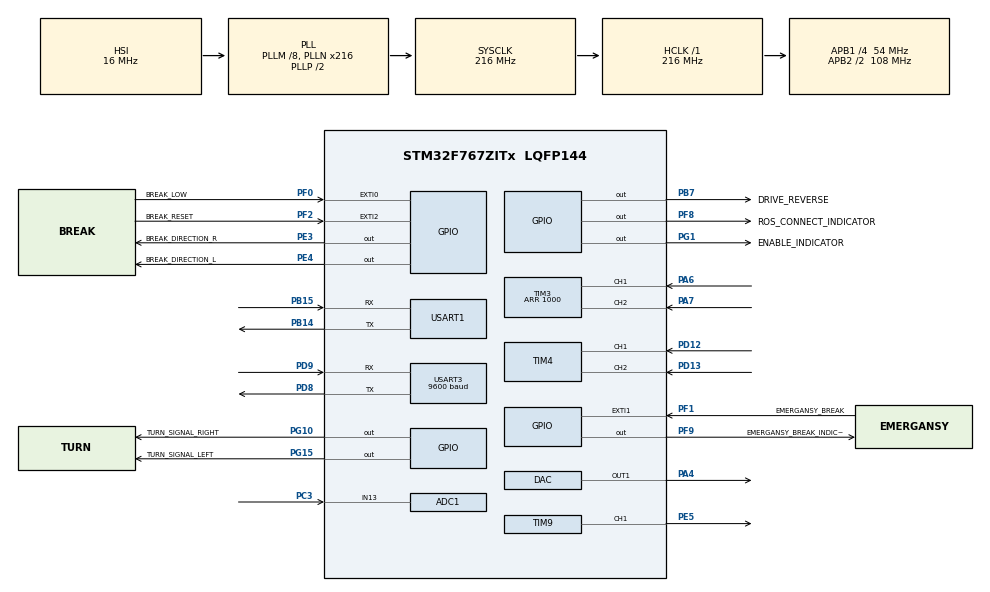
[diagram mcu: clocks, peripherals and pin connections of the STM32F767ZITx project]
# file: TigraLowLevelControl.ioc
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ADC1.Channel-2\#ChannelRegularConversion=ADC_CHANNEL_13
ADC1.ContinuousConvMode=DISABLE
ADC1.InjNumberOfConversion=0
ADC1.NbrOfConversion=1
ADC1.NbrOfConversionFlag=1
ADC1.Rank-2\#ChannelRegularConversion=1
ADC1.SamplingTime-2\#ChannelRegularConversion=ADC_SAMPLETIME_56CYCLES
ADC1.master=1
DAC.DAC_OutputBuffer=DAC_OUTPUTBUFFER_DISABLE
FREERTOS.INCLUDE_eTaskGetState=1
FREERTOS.INCLUDE_pcTaskGetTaskName=1
FREERTOS.INCLUDE_uxTaskGetStackHighWaterMark=1
FREERTOS.INCLUDE_uxTaskGetStackHighWaterMark2=1
FREERTOS.INCLUDE_vTaskCleanUpResources=1
FREERTOS.INCLUDE_vTaskDelayUntil=1
FREERTOS.INCLUDE_xQueueGetMutexHolder=1
FREERTOS.INCLUDE_xSemaphoreGetMutexHolder=1
FREERTOS.INCLUDE_xTaskAbortDelay=1
FREERTOS.INCLUDE_xTaskGetCurrentTaskHandle=1
FREERTOS.INCLUDE_xTaskGetHandle=1
FREERTOS.Queues01=driveData,10,driveData_t,0,Dynamic,NULL,NULL
FREERTOS.Tasks01=DefaultTask,1,1024,DefaultTaskTask,Default,NULL,Dynamic,NULL,NULL;driveControl,2,512,driveControlTask,Default,NULL,Dynamic,NULL,NULL;lightControl,2,512,lightControlTask,Default,NULL,Dynamic,NULL,NULL;hardwareTest,1,512,hardwareTestTask,Default,NULL,Dynamic,NULL,NULL;buttonProcess,1,256,buttonProcessTask,Default,NULL,Dynamic,NULL,NULL
FREERTOS.configENABLE_FPU=1
FREERTOS.configMINIMAL_STACK_SIZE=256
FREERTOS.configTOTAL_HEAP_SIZE=30000
Mcu.Family=STM32F7
Mcu.Name=STM32F767ZITx
Mcu.Package=LQFP144
NVIC.EXTI0_IRQn=true\:5\:0\:false\:false\:true\:true\:true\:true
NVIC.EXTI1_IRQn=true\:5\:0\:false\:false\:true\:true\:true\:true
NVIC.EXTI2_IRQn=true\:5\:0\:false\:false\:true\:true\:true\:true
NVIC.PriorityGroup=NVIC_PRIORITYGROUP_4
NVIC.TIM4_IRQn=true\:5\:0\:false\:false\:true\:true\:true\:true
NVIC.TIM8_TRG_COM_TIM14_IRQn=true\:0\:0\:false\:false\:true\:false\:false\:true
NVIC.TimeBase=TIM8_TRG_COM_TIM14_IRQn
NVIC.TimeBaseIP=TIM14
NVIC.USART1_IRQn=true\:5\:0\:false\:false\:true\:true\:true\:true
PA13.Mode=Serial_Wire
PA13.Signal=SYS_JTMS-SWDIO
PA14.Mode=Serial_Wire
PA14.Signal=SYS_JTCK-SWCLK
PA4.Signal=COMP_DAC1_group
PA6.GPIO_PuPd=GPIO_PULLUP
PA6.GPIO_Speed=GPIO_SPEED_FREQ_HIGH
PA6.Signal=S_TIM3_CH1
PA7.GPIO_PuPd=GPIO_PULLUP
PA7.GPIO_Speed=GPIO_SPEED_FREQ_HIGH
PA7.Signal=S_TIM3_CH2
PB14.Mode=Asynchronous
PB14.Signal=USART1_TX
PB15.Mode=Asynchronous
PB15.Signal=USART1_RX
PB7.GPIO_Label=DRIVE_REVERSE
PB7.GPIO_ModeDefaultOutputPP=GPIO_MODE_OUTPUT_OD
PB7.PinState=GPIO_PIN_SET
PB7.Signal=GPIO_Output
PC3.Signal=ADCx_IN13
PD12.GPIO_PuPd=GPIO_PULLUP
PD12.GPIO_Speed=GPIO_SPEED_FREQ_HIGH
PD12.Signal=S_TIM4_CH1
PD13.GPIO_PuPd=GPIO_PULLUP
PD13.GPIO_Speed=GPIO_SPEED_FREQ_HIGH
PD13.Signal=S_TIM4_CH2
PD8.Mode=Asynchronous
PD8.Signal=USART3_TX
PD9.Mode=Asynchronous
PD9.Signal=USART3_RX
PE3.GPIO_Label=BREAK_DIRECTION_R
PE3.GPIO_Speed=GPIO_SPEED_FREQ_MEDIUM
PE3.Signal=GPIO_Output
PE4.GPIO_Label=BREAK_DIRECTION_L
PE4.GPIO_Speed=GPIO_SPEED_FREQ_MEDIUM
PE4.Signal=GPIO_Output
PE5.Signal=S_TIM9_CH1
PF0.GPIO_Label=BREAK_LOW
PF0.GPIO_ModeDefaultEXTI=GPIO_MODE_IT_FALLING
PF0.GPIO_PuPd=GPIO_PULLUP
PF0.Signal=GPXTI0
PF1.GPIO_Label=EMERGANSY_BREAK
PF1.GPIO_ModeDefaultEXTI=GPIO_MODE_IT_RISING
PF1.GPIO_PuPd=GPIO_PULLUP
PF1.Signal=GPXTI1
PF2.GPIO_Label=BREAK_RESET
PF2.GPIO_ModeDefaultEXTI=GPIO_MODE_IT_RISING_FALLING
PF2.GPIO_PuPd=GPIO_PULLUP
PF2.Signal=GPXTI2
PF8.GPIO_Label=ROS_CONNECT_INDICATOR
PF8.GPIO_ModeDefaultOutputPP=GPIO_MODE_OUTPUT_OD
PF8.GPIO_PuPd=GPIO_NOPULL
PF8.PinState=GPIO_PIN_SET
PF8.Signal=GPIO_Output
PF9.GPIO_Label=EMERGANSY_BREAK_INDICATOR
PF9.GPIO_ModeDefaultOutputPP=GPIO_MODE_OUTPUT_OD
PF9.PinState=GPIO_PIN_SET
PF9.Signal=GPIO_Output
PG1.GPIO_Label=ENABLE_INDICATOR
PG1.GPIO_ModeDefaultOutputPP=GPIO_MODE_OUTPUT_OD
PG1.GPIO_PuPd=GPIO_NOPULL
PG1.PinState=GPIO_PIN_SET
PG1.Signal=GPIO_Output
PG10.GPIO_Label=TURN_SIGNAL_RIGHT
PG10.GPIO_ModeDefaultOutputPP=GPIO_MODE_OUTPUT_OD
PG10.PinState=GPIO_PIN_SET
PG10.Signal=GPIO_Output
PG15.GPIO_Label=TURN_SIGNAL_LEFT
PG15.GPIO_ModeDefaultOutputPP=GPIO_MODE_OUTPUT_OD
PG15.PinState=GPIO_PIN_SET
PG15.Signal=GPIO_Output
PH0/OSC_IN.Mode=HSE-External-Clock-Source
PH0/OSC_IN.Signal=RCC_OSC_IN
PH1/OSC_OUT.Mode=HSE-External-Clock-Source
PH1/OSC_OUT.Signal=RCC_OSC_OUT
ProjectManager.HeapSize=0x800
ProjectManager.StackSize=0x1000
ProjectManager.TargetToolchain=Makefile
RCC.AHBFreq_Value=216000000
RCC.APB1CLKDivider=RCC_HCLK_DIV4
RCC.APB1Freq_Value=54000000
RCC.APB1TimFreq_Value=108000000
RCC.APB2CLKDivider=RCC_HCLK_DIV2
RCC.APB2Freq_Value=108000000
RCC.APB2TimFreq_Value=216000000
RCC.CortexFreq_Value=216000000
RCC.HCLKFreq_Value=216000000
RCC.HSE_VALUE=8000000
RCC.HSI_VALUE=16000000
RCC.LSE_VALUE=32768
RCC.PLLM=8
RCC.PLLN=216
RCC.SYSCLKFreq_VALUE=216000000
RCC.SYSCLKSource=RCC_SYSCLKSOURCE_PLLCLK
RCC.USBFreq_Value=216000000
RCC.VCOOutputFreq_Value=432000000
SH.ADCx_IN13.0=ADC1_IN13,IN13
SH.COMP_DAC1_group.0=DAC_OUT1,DAC_OUT1
SH.S_TIM3_CH1.0=TIM3_CH1,Encoder_Interface
SH.S_TIM3_CH2.0=TIM3_CH2,Encoder_Interface
SH.S_TIM4_CH1.0=TIM4_CH1,Encoder_Interface
SH.S_TIM4_CH2.0=TIM4_CH2,Encoder_Interface
SH.S_TIM9_CH1.0=TIM9_CH1,PWM Generation1 CH1
TIM13.Prescaler=108-1
TIM3.AutoReloadPreload=TIM_AUTORELOAD_PRELOAD_ENABLE
TIM3.CounterMode=TIM_COUNTERMODE_CENTERALIGNED1
TIM3.IC1Filter=1
TIM3.IC1Polarity=TIM_ICPOLARITY_FALLING
TIM3.IC2Filter=1
TIM3.IC2Polarity=TIM_ICPOLARITY_FALLING
TIM3.Period=1000
TIM4.IC1Filter=5
TIM4.IC1Polarity=TIM_ICPOLARITY_FALLING
TIM4.IC2Filter=5
TIM4.IC2Polarity=TIM_ICPOLARITY_FALLING
TIM9.Channel-PWM\ Generation1\ CH1=TIM_CHANNEL_1
TIM9.Period=36000
TIM9.Prescaler=1
USART1.VirtualMode-Asynchronous=VM_ASYNC
USART3.BaudRate=9600
USART3.VirtualMode-Asynchronous=VM_ASYNC
VP_FREERTOS_VS_CMSIS_V1.Mode=CMSIS_V1
VP_SYS_VS_tim14.Mode=TIM14
VP_TIM13_VS_ClockSourceINT.Mode=Enable_Timer
board=custom

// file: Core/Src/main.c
/* USER CODE BEGIN Header */
/**
  ******************************************************************************
  * @file           : main.c
  * @brief          : Main program body
  ******************************************************************************
  * @attention
  *
  * <h2><center>&copy; Copyright (c) 2021 STMicroelectronics.
  * All rights reserved.</center></h2>
  *
  * This software component is licensed by ST under Ultimate Liberty license
  * SLA0044, the "License"; You may not use this file except in compliance with
  * the License. You may obtain a copy of the License at:
  *                             www.st.com/SLA0044
  *
  ******************************************************************************
  */
/* USER CODE END Header */
#include "main.h"
#include "cmsis_os.h"

ADC_HandleTypeDef hadc1;

DAC_HandleTypeDef hdac;

TIM_HandleTypeDef htim3;
TIM_HandleTypeDef htim4;
TIM_HandleTypeDef htim9;
TIM_HandleTypeDef htim13;

UART_HandleTypeDef huart1;
UART_HandleTypeDef huart3;

osThreadId DefaultTaskHandle;
osThreadId driveControlHandle;
osThreadId lightControlHandle;
osThreadId hardwareTestHandle;
osThreadId buttonProcessHandle;
osMessageQId driveDataHandle;
/* USER CODE BEGIN PV */
struct netif gnetif;
extern uint8_t uartByte;
extern uint8_t emergensyBrakeFlag;
/* USER CODE END PV */

void SystemClock_Config(void);
static void MX_GPIO_Init(void);
static void MX_DAC_Init(void);
static void MX_USART1_UART_Init(void);
static void MX_TIM3_Init(void);
static void MX_TIM4_Init(void);
static void MX_TIM13_Init(void);
static void MX_USART3_UART_Init(void);
static void MX_ADC1_Init(void);
static void MX_TIM9_Init(void);
void DefaultTaskTask(void const * argument);
void driveControlTask(void const * argument);
void lightControlTask(void const * argument);
void hardwareTestTask(void const * argument);
void buttonProcessTask(void const * argument);

int main(void)
{

  /* MCU Configuration--------------------------------------------------------*/

  /* Reset of all peripherals, Initializes the Flash interface and the Systick. */
  HAL_Init();

  /* Configure the system clock */
  SystemClock_Config();

  /* USER CODE BEGIN SysInit */
  HAL_Delay(500);
  /* USER CODE END SysInit */

  /* Initialize all configured peripherals */
  MX_GPIO_Init();
  MX_DAC_Init();
  MX_USART1_UART_Init();
  MX_TIM3_Init();
  MX_TIM4_Init();
  MX_TIM13_Init();
  MX_USART3_UART_Init();
  MX_ADC1_Init();
  MX_TIM9_Init();
  /* USER CODE BEGIN 2 */

  HAL_DAC_SetValue(&hdac,DAC_CHANNEL_1,DAC_ALIGN_12B_R,0);
  HAL_DAC_Start(&hdac,DAC_CHANNEL_1);
  encoderStart(18);
  /* USER CODE END 2 */

  /* Create the queue(s) */
  /* definition and creation of driveData */
  osMessageQDef(driveData, 10, driveData_t);
  driveDataHandle = osMessageCreate(osMessageQ(driveData), NULL);

  /* Create the thread(s) */
  /* definition and creation of DefaultTask */
  osThreadDef(DefaultTask, DefaultTaskTask, osPriorityAboveNormal, 0, 1024);
  DefaultTaskHandle = osThreadCreate(osThread(DefaultTask), NULL);

  /* definition and creation of driveControl */
  osThreadDef(driveControl, driveControlTask, osPriorityHigh, 0, 512);
  driveControlHandle = osThreadCreate(osThread(driveControl), NULL);

  /* definition and creation of lightControl */
  osThreadDef(lightControl, lightControlTask, osPriorityHigh, 0, 512);
  lightControlHandle = osThreadCreate(osThread(lightControl), NULL);

  /* definition and creation of hardwareTest */
  osThreadDef(hardwareTest, hardwareTestTask, osPriorityAboveNormal, 0, 512);
  hardwareTestHandle = osThreadCreate(osThread(hardwareTest), NULL);

  /* definition and creation of buttonProcess */
  osThreadDef(buttonProcess, buttonProcessTask, osPriorityAboveNormal, 0, 256);
  buttonProcessHandle = osThreadCreate(osThread(buttonProcess), NULL);

  /* Start scheduler */
  osKernelStart();

  /* We should never get here as control is now taken by the scheduler */
  /* Infinite loop */
  while (1)
  {
    // ledsSet(LEDS_ROS,LEDS_ON);
    // HAL_Delay(1000);
    // ledsSet(LEDS_ROS,LEDS_OFF);
    // HAL_Delay(1000);
  }
}

void SystemClock_Config(void)
{
  RCC_OscInitTypeDef RCC_OscInitStruct = {0};
  RCC_ClkInitTypeDef RCC_ClkInitStruct = {0};
  RCC_PeriphCLKInitTypeDef PeriphClkInitStruct = {0};

  /** Configure the main internal regulator output voltage
  */
  __HAL_RCC_PWR_CLK_ENABLE();
  __HAL_PWR_VOLTAGESCALING_CONFIG(PWR_REGULATOR_VOLTAGE_SCALE1);
  /** Initializes the RCC Oscillators according to the specified parameters
  * in the RCC_OscInitTypeDef structure.
  */
  RCC_OscInitStruct.OscillatorType = RCC_OSCILLATORTYPE_HSI;
  RCC_OscInitStruct.HSIState = RCC_HSI_ON;
  RCC_OscInitStruct.HSICalibrationValue = RCC_HSICALIBRATION_DEFAULT;
  RCC_OscInitStruct.PLL.PLLState = RCC_PLL_ON;
  RCC_OscInitStruct.PLL.PLLSource = RCC_PLLSOURCE_HSI;
  RCC_OscInitStruct.PLL.PLLM = 8;
  RCC_OscInitStruct.PLL.PLLN = 216;
  RCC_OscInitStruct.PLL.PLLP = RCC_PLLP_DIV2;
  RCC_OscInitStruct.PLL.PLLQ = 2;
  if (HAL_RCC_OscConfig(&RCC_OscInitStruct) != HAL_OK)
  {
    Error_Handler();
  }
  /** Activate the Over-Drive mode
  */
  if (HAL_PWREx_EnableOverDrive() != HAL_OK)
  {
    Error_Handler();
  }
  /** Initializes the CPU, AHB and APB buses clocks
  */
  RCC_ClkInitStruct.ClockType = RCC_CLOCKTYPE_HCLK|RCC_CLOCKTYPE_SYSCLK
                              |RCC_CLOCKTYPE_PCLK1|RCC_CLOCKTYPE_PCLK2;
  RCC_ClkInitStruct.SYSCLKSource = RCC_SYSCLKSOURCE_PLLCLK;
  RCC_ClkInitStruct.AHBCLKDivider = RCC_SYSCLK_DIV1;
  RCC_ClkInitStruct.APB1CLKDivider = RCC_HCLK_DIV4;
  RCC_ClkInitStruct.APB2CLKDivider = RCC_HCLK_DIV2;

  if (HAL_RCC_ClockConfig(&RCC_ClkInitStruct, FLASH_LATENCY_7) != HAL_OK)
  {
    Error_Handler();
  }
  PeriphClkInitStruct.PeriphClockSelection = RCC_PERIPHCLK_USART1|RCC_PERIPHCLK_USART3;
  PeriphClkInitStruct.Usart1ClockSelection = RCC_USART1CLKSOURCE_PCLK2;
  PeriphClkInitStruct.Usart3ClockSelection = RCC_USART3CLKSOURCE_PCLK1;
  if (HAL_RCCEx_PeriphCLKConfig(&PeriphClkInitStruct) != HAL_OK)
  {
    Error_Handler();
  }
}

static void MX_ADC1_Init(void)
{

  ADC_ChannelConfTypeDef sConfig = {0};

  /** Configure the global features of the ADC (Clock, Resolution, Data Alignment and number of conversion)
  */
  hadc1.Instance = ADC1;
  hadc1.Init.ClockPrescaler = ADC_CLOCK_SYNC_PCLK_DIV4;
  hadc1.Init.Resolution = ADC_RESOLUTION_12B;
  hadc1.Init.ScanConvMode = ADC_SCAN_DISABLE;
  hadc1.Init.ContinuousConvMode = DISABLE;
  hadc1.Init.DiscontinuousConvMode = DISABLE;
  hadc1.Init.ExternalTrigConvEdge = ADC_EXTERNALTRIGCONVEDGE_NONE;
  hadc1.Init.ExternalTrigConv = ADC_SOFTWARE_START;
  hadc1.Init.DataAlign = ADC_DATAALIGN_RIGHT;
  hadc1.Init.NbrOfConversion = 1;
  hadc1.Init.DMAContinuousRequests = DISABLE;
  hadc1.Init.EOCSelection = ADC_EOC_SINGLE_CONV;
  if (HAL_ADC_Init(&hadc1) != HAL_OK)
  {
    Error_Handler();
  }
  /** Configure for the selected ADC regular channel its corresponding rank in the sequencer and its sample time.
  */
  sConfig.Channel = ADC_CHANNEL_13;
  sConfig.Rank = ADC_REGULAR_RANK_1;
  sConfig.SamplingTime = ADC_SAMPLETIME_56CYCLES;
  if (HAL_ADC_ConfigChannel(&hadc1, &sConfig) != HAL_OK)
  {
    Error_Handler();
  }

}

static void MX_DAC_Init(void)
{

  DAC_ChannelConfTypeDef sConfig = {0};

  /** DAC Initialization
  */
  hdac.Instance = DAC;
  if (HAL_DAC_Init(&hdac) != HAL_OK)
  {
    Error_Handler();
  }
  /** DAC channel OUT1 config
  */
  sConfig.DAC_Trigger = DAC_TRIGGER_NONE;
  sConfig.DAC_OutputBuffer = DAC_OUTPUTBUFFER_DISABLE;
  if (HAL_DAC_ConfigChannel(&hdac, &sConfig, DAC_CHANNEL_1) != HAL_OK)
  {
    Error_Handler();
  }

}

static void MX_TIM3_Init(void)
{

  TIM_Encoder_InitTypeDef sConfig = {0};
  TIM_MasterConfigTypeDef sMasterConfig = {0};

  htim3.Instance = TIM3;
  htim3.Init.Prescaler = 0;
  htim3.Init.CounterMode = TIM_COUNTERMODE_CENTERALIGNED1;
  htim3.Init.Period = 1000;
  htim3.Init.ClockDivision = TIM_CLOCKDIVISION_DIV1;
  htim3.Init.AutoReloadPreload = TIM_AUTORELOAD_PRELOAD_ENABLE;
  sConfig.EncoderMode = TIM_ENCODERMODE_TI1;
  sConfig.IC1Polarity = TIM_ICPOLARITY_FALLING;
  sConfig.IC1Selection = TIM_ICSELECTION_DIRECTTI;
  sConfig.IC1Prescaler = TIM_ICPSC_DIV1;
  sConfig.IC1Filter = 1;
  sConfig.IC2Polarity = TIM_ICPOLARITY_FALLING;
  sConfig.IC2Selection = TIM_ICSELECTION_DIRECTTI;
  sConfig.IC2Prescaler = TIM_ICPSC_DIV1;
  sConfig.IC2Filter = 1;
  if (HAL_TIM_Encoder_Init(&htim3, &sConfig) != HAL_OK)
  {
    Error_Handler();
  }
  sMasterConfig.MasterOutputTrigger = TIM_TRGO_RESET;
  sMasterConfig.MasterSlaveMode = TIM_MASTERSLAVEMODE_DISABLE;
  if (HAL_TIMEx_MasterConfigSynchronization(&htim3, &sMasterConfig) != HAL_OK)
  {
    Error_Handler();
  }

}

static void MX_TIM4_Init(void)
{

  TIM_Encoder_InitTypeDef sConfig = {0};
  TIM_MasterConfigTypeDef sMasterConfig = {0};

  htim4.Instance = TIM4;
  htim4.Init.Prescaler = 0;
  htim4.Init.CounterMode = TIM_COUNTERMODE_UP;
  htim4.Init.Period = 65535;
  htim4.Init.ClockDivision = TIM_CLOCKDIVISION_DIV1;
  htim4.Init.AutoReloadPreload = TIM_AUTORELOAD_PRELOAD_DISABLE;
  sConfig.EncoderMode = TIM_ENCODERMODE_TI1;
  sConfig.IC1Polarity = TIM_ICPOLARITY_FALLING;
  sConfig.IC1Selection = TIM_ICSELECTION_DIRECTTI;
  sConfig.IC1Prescaler = TIM_ICPSC_DIV1;
  sConfig.IC1Filter = 5;
  sConfig.IC2Polarity = TIM_ICPOLARITY_FALLING;
  sConfig.IC2Selection = TIM_ICSELECTION_DIRECTTI;
  sConfig.IC2Prescaler = TIM_ICPSC_DIV1;
  sConfig.IC2Filter = 5;
  if (HAL_TIM_Encoder_Init(&htim4, &sConfig) != HAL_OK)
  {
    Error_Handler();
  }
  sMasterConfig.MasterOutputTrigger = TIM_TRGO_RESET;
  sMasterConfig.MasterSlaveMode = TIM_MASTERSLAVEMODE_DISABLE;
  if (HAL_TIMEx_MasterConfigSynchronization(&htim4, &sMasterConfig) != HAL_OK)
  {
    Error_Handler();
  }

}

static void MX_TIM9_Init(void)
{

  TIM_OC_InitTypeDef sConfigOC = {0};

  htim9.Instance = TIM9;
  htim9.Init.Prescaler = 1;
  htim9.Init.CounterMode = TIM_COUNTERMODE_UP;
  htim9.Init.Period = 36000;
  htim9.Init.ClockDivision = TIM_CLOCKDIVISION_DIV1;
  htim9.Init.AutoReloadPreload = TIM_AUTORELOAD_PRELOAD_DISABLE;
  if (HAL_TIM_PWM_Init(&htim9) != HAL_OK)
  {
    Error_Handler();
  }
  sConfigOC.OCMode = TIM_OCMODE_PWM1;
  sConfigOC.Pulse = 0;
  sConfigOC.OCPolarity = TIM_OCPOLARITY_HIGH;
  sConfigOC.OCFastMode = TIM_OCFAST_DISABLE;
  if (HAL_TIM_PWM_ConfigChannel(&htim9, &sConfigOC, TIM_CHANNEL_1) != HAL_OK)
  {
    Error_Handler();
  }
  HAL_TIM_MspPostInit(&htim9);

}

static void MX_TIM13_Init(void)
{

  htim13.Instance = TIM13;
  htim13.Init.Prescaler = 108-1;
  htim13.Init.CounterMode = TIM_COUNTERMODE_UP;
  htim13.Init.Period = 65535;
  htim13.Init.ClockDivision = TIM_CLOCKDIVISION_DIV1;
  htim13.Init.AutoReloadPreload = TIM_AUTORELOAD_PRELOAD_DISABLE;
  if (HAL_TIM_Base_Init(&htim13) != HAL_OK)
  {
    Error_Handler();
  }

}

static void MX_USART1_UART_Init(void)
{

  huart1.Instance = USART1;
  huart1.Init.BaudRate = 19200;
  huart1.Init.WordLength = UART_WORDLENGTH_8B;
  huart1.Init.StopBits = UART_STOPBITS_1;
  huart1.Init.Parity = UART_PARITY_NONE;
  huart1.Init.Mode = UART_MODE_TX_RX;
  huart1.Init.HwFlowCtl = UART_HWCONTROL_NONE;
  huart1.Init.OverSampling = UART_OVERSAMPLING_16;
  huart1.Init.OneBitSampling = UART_ONE_BIT_SAMPLE_DISABLE;
  huart1.AdvancedInit.AdvFeatureInit = UART_ADVFEATURE_NO_INIT;
  if (HAL_UART_Init(&huart1) != HAL_OK)
  {
    Error_Handler();
  }

}

static void MX_USART3_UART_Init(void)
{

  huart3.Instance = USART3;
  huart3.Init.BaudRate = 9600;
  huart3.Init.WordLength = UART_WORDLENGTH_8B;
  huart3.Init.StopBits = UART_STOPBITS_1;
  huart3.Init.Parity = UART_PARITY_NONE;
  huart3.Init.Mode = UART_MODE_TX_RX;
  huart3.Init.HwFlowCtl = UART_HWCONTROL_NONE;
  huart3.Init.OverSampling = UART_OVERSAMPLING_16;
  huart3.Init.OneBitSampling = UART_ONE_BIT_SAMPLE_DISABLE;
  huart3.AdvancedInit.AdvFeatureInit = UART_ADVFEATURE_NO_INIT;
  if (HAL_UART_Init(&huart3) != HAL_OK)
  {
    Error_Handler();
  }

}

static void MX_GPIO_Init(void)
{
  GPIO_InitTypeDef GPIO_InitStruct = {0};

  /* GPIO Ports Clock Enable */
  __HAL_RCC_GPIOE_CLK_ENABLE();
  __HAL_RCC_GPIOF_CLK_ENABLE();
  __HAL_RCC_GPIOH_CLK_ENABLE();
  __HAL_RCC_GPIOC_CLK_ENABLE();
  __HAL_RCC_GPIOA_CLK_ENABLE();
  __HAL_RCC_GPIOG_CLK_ENABLE();
  __HAL_RCC_GPIOB_CLK_ENABLE();
  __HAL_RCC_GPIOD_CLK_ENABLE();

  /*Configure GPIO pin Output Level */
  HAL_GPIO_WritePin(GPIOE, BREAK_DIRECTION_R_Pin|BREAK_DIRECTION_L_Pin, GPIO_PIN_RESET);

  /*Configure GPIO pin Output Level */
  HAL_GPIO_WritePin(GPIOF, ROS_CONNECT_INDICATOR_Pin|EMERGANSY_BREAK_INDICATOR_Pin, GPIO_PIN_SET);

  /*Configure GPIO pin Output Level */
  HAL_GPIO_WritePin(GPIOG, ENABLE_INDICATOR_Pin|TURN_SIGNAL_RIGHT_Pin|TURN_SIGNAL_LEFT_Pin, GPIO_PIN_SET);

  /*Configure GPIO pin Output Level */
  HAL_GPIO_WritePin(DRIVE_REVERSE_GPIO_Port, DRIVE_REVERSE_Pin, GPIO_PIN_SET);

  /*Configure GPIO pins : BREAK_DIRECTION_R_Pin BREAK_DIRECTION_L_Pin */
  GPIO_InitStruct.Pin = BREAK_DIRECTION_R_Pin|BREAK_DIRECTION_L_Pin;
  GPIO_InitStruct.Mode = GPIO_MODE_OUTPUT_PP;
  GPIO_InitStruct.Pull = GPIO_NOPULL;
  GPIO_InitStruct.Speed = GPIO_SPEED_FREQ_MEDIUM;
  HAL_GPIO_Init(GPIOE, &GPIO_InitStruct);

  /*Configure GPIO pin : BREAK_LOW_Pin */
  GPIO_InitStruct.Pin = BREAK_LOW_Pin;
  GPIO_InitStruct.Mode = GPIO_MODE_IT_FALLING;
  GPIO_InitStruct.Pull = GPIO_PULLUP;
  HAL_GPIO_Init(BREAK_LOW_GPIO_Port, &GPIO_InitStruct);

  /*Configure GPIO pin : EMERGANSY_BREAK_Pin */
  GPIO_InitStruct.Pin = EMERGANSY_BREAK_Pin;
  GPIO_InitStruct.Mode = GPIO_MODE_IT_RISING_FALLING;
  GPIO_InitStruct.Pull = GPIO_PULLUP;
  HAL_GPIO_Init(EMERGANSY_BREAK_GPIO_Port, &GPIO_InitStruct);

  /*Configure GPIO pin : BREAK_RESET_Pin */
  GPIO_InitStruct.Pin = BREAK_RESET_Pin;
  GPIO_InitStruct.Mode = GPIO_MODE_IT_RISING_FALLING;
  GPIO_InitStruct.Pull = GPIO_PULLUP;
  HAL_GPIO_Init(BREAK_RESET_GPIO_Port, &GPIO_InitStruct);

  /*Configure GPIO pins : ROS_CONNECT_INDICATOR_Pin EMERGANSY_BREAK_INDICATOR_Pin */
  GPIO_InitStruct.Pin = ROS_CONNECT_INDICATOR_Pin|EMERGANSY_BREAK_INDICATOR_Pin;
  GPIO_InitStruct.Mode = GPIO_MODE_OUTPUT_OD;
  GPIO_InitStruct.Pull = GPIO_NOPULL;
  GPIO_InitStruct.Speed = GPIO_SPEED_FREQ_LOW;
  HAL_GPIO_Init(GPIOF, &GPIO_InitStruct);

  /*Configure GPIO pins : ENABLE_INDICATOR_Pin TURN_SIGNAL_RIGHT_Pin TURN_SIGNAL_LEFT_Pin */
  GPIO_InitStruct.Pin = ENABLE_INDICATOR_Pin|TURN_SIGNAL_RIGHT_Pin|TURN_SIGNAL_LEFT_Pin;
  GPIO_InitStruct.Mode = GPIO_MODE_OUTPUT_OD;
  GPIO_InitStruct.Pull = GPIO_NOPULL;
  GPIO_InitStruct.Speed = GPIO_SPEED_FREQ_LOW;
  HAL_GPIO_Init(GPIOG, &GPIO_InitStruct);

  /*Configure GPIO pin : DRIVE_REVERSE_Pin */
  GPIO_InitStruct.Pin = DRIVE_REVERSE_Pin;
  GPIO_InitStruct.Mode = GPIO_MODE_OUTPUT_OD;
  GPIO_InitStruct.Pull = GPIO_NOPULL;
  GPIO_InitStruct.Speed = GPIO_SPEED_FREQ_LOW;
  HAL_GPIO_Init(DRIVE_REVERSE_GPIO_Port, &GPIO_InitStruct);

  /* EXTI interrupt init*/
  HAL_NVIC_SetPriority(EXTI0_IRQn, 5, 0);
  HAL_NVIC_EnableIRQ(EXTI0_IRQn);

  HAL_NVIC_SetPriority(EXTI1_IRQn, 5, 0);
  HAL_NVIC_EnableIRQ(EXTI1_IRQn);

  HAL_NVIC_SetPriority(EXTI2_IRQn, 5, 0);
  HAL_NVIC_EnableIRQ(EXTI2_IRQn);

}

/* USER CODE BEGIN 4 */
void Netif_Config(void)
{
  ip_addr_t ipaddr;
  ip_addr_t netmask;
  ip_addr_t gw;

#ifdef USE_DHCP
  ip_addr_set_zero_ip4(&ipaddr);
  ip_addr_set_zero_ip4(&netmask);
  ip_addr_set_zero_ip4(&gw);
#else
  IP_ADDR4(&ipaddr,IP_ADDR0,IP_ADDR1,IP_ADDR2,IP_ADDR3);
  IP_ADDR4(&netmask,NETMASK_ADDR0,NETMASK_ADDR1,NETMASK_ADDR2,NETMASK_ADDR3);
  IP_ADDR4(&gw,GW_ADDR0,GW_ADDR1,GW_ADDR2,GW_ADDR3);
#endif /* USE_DHCP */

  /* add the network interface */
  netif_add(&gnetif, &ipaddr, &netmask, &gw, NULL, &ethernetif_init, &tcpip_input);

  /*  Registers the default network interface. */
  netif_set_default(&gnetif);

  if (netif_is_link_up(&gnetif))
  {
    /* When the netif is fully configured this function must be called.*/
    netif_set_up(&gnetif);
  }
  else
  {
    /* When the netif link is down this function must be called */
    netif_set_down(&gnetif);
  }
}
/* USER CODE END 4 */

void DefaultTaskTask(void const * argument)
{
  /* USER CODE BEGIN 5 */
  tcpip_init(NULL, NULL);
  /* Initialize the LwIP stack */
  Netif_Config();
  rosInit();
  /* Infinite loop */
  for(;;)
  {
    HAL_UART_Receive_IT(&huart1,&uartByte,1);
    osDelay(1);
  }
  /* USER CODE END 5 */
}

void driveControlTask(void const * argument)
{
  /* USER CODE BEGIN driveControlTask */
  uint8_t str;
  float refSpeed=0;
  ledsSet(LEDS_ENABLE,LEDS_ON);
  // HAL_GPIO_WritePin(DRIVE_REVERSE_GPIO_Port,DRIVE_REVERSE_Pin,0);
  // HAL_GPIO_WritePin(ROS_CONNECT_INDICATOR_GPIO_Port,ROS_CONNECT_INDICATOR_Pin,0);
  // HAL_GPIO_WritePin(EMERGANSY_BREAK_INDICATOR_GPIO_Port,EMERGANSY_BREAK_INDICATOR_Pin,0);
  // HAL_GPIO_WritePin(TURN_SIGNAL_LEFT_GPIO_Port,TURN_SIGNAL_LEFT_Pin,0);
  // HAL_GPIO_WritePin(TURN_SIGNAL_RIGHT_GPIO_Port,TURN_SIGNAL_RIGHT_Pin,0);
  TIM9->CCR1=0;
  HAL_TIM_PWM_Start(&htim9, TIM_CHANNEL_1);
  /* Infinite loop */
  for(;;)
  {
  #if ((!DRIVE_TEST || TEST_SPEED_CONRTOL_SYSTEM) && !BREAK_TEST && !RUDDER_COMMUNICATION_TEST)
    speedControlProcess();
  #endif
    osDelay(5);
  }
  /* USER CODE END driveControlTask */
}

void lightControlTask(void const * argument)
{
  /* USER CODE BEGIN lightControlTask */
  int8_t angle;
  /* Infinite loop */
  for(;;)
  {
    angle=getAngle();
    if(angle<3 && angle>-3)
    {
      HAL_GPIO_WritePin(TURN_SIGNAL_LEFT_GPIO_Port,TURN_SIGNAL_LEFT_Pin,1);
      HAL_GPIO_WritePin(TURN_SIGNAL_RIGHT_GPIO_Port,TURN_SIGNAL_RIGHT_Pin,1);
    }
    else if(angle>3)
    {
      HAL_GPIO_TogglePin(TURN_SIGNAL_LEFT_GPIO_Port,TURN_SIGNAL_LEFT_Pin);
      HAL_GPIO_WritePin(TURN_SIGNAL_RIGHT_GPIO_Port,TURN_SIGNAL_RIGHT_Pin,1);
    }
    else if(angle<-3)
    {
      HAL_GPIO_TogglePin(TURN_SIGNAL_RIGHT_GPIO_Port,TURN_SIGNAL_RIGHT_Pin);
      HAL_GPIO_WritePin(TURN_SIGNAL_LEFT_GPIO_Port,TURN_SIGNAL_LEFT_Pin,1);
    }
    osDelay(500);
  }
  /* USER CODE END lightControlTask */
}

void hardwareTestTask(void const * argument)
{
  /* USER CODE BEGIN hardwareTestTask */
  /* Infinite loop */
  for(;;)
  {
    testProcess();
  }
  /* USER CODE END hardwareTestTask */
}

void buttonProcessTask(void const * argument)
{
  /* USER CODE BEGIN buttonProcessTask */
  uint8_t state=0;
  /* Infinite loop */
  for(;;)
  {
    alphaFilter();
    // if(emergensyBrakeFlag==1)
    // {
    //   if((GPIOF->IDR & 0x04) == 0 && state==0)
    //   {
    //     state++;
    //     emergensyBrakeFlag=0;
    //   }
    //   else if((GPIOF->IDR & 0x04) != 0 && state==1)
    //   {
    //     state=0;
    //     if(HAL_GPIO_ReadPin(GPIOF,GPIO_PIN_0)==1)
    //     {
    //       setBreakStatus(BREAK_DROP);
    //     }
    //     HAL_GPIO_WritePin(EMERGANSY_BREAK_INDICATOR_GPIO_Port,EMERGANSY_BREAK_INDICATOR_Pin,1);
    //     HAL_GPIO_WritePin(ENABLE_INDICATOR_GPIO_Port,ENABLE_INDICATOR_Pin,0);
    //     emergensyBrakeFlag=0;
    //   }
    // }
    // osDelay(10);
  }
  /* USER CODE END buttonProcessTask */
}

 /**
  * @brief  Period elapsed callback in non blocking mode
  * @note   This function is called  when TIM14 interrupt took place, inside
  * HAL_TIM_IRQHandler(). It makes a direct call to HAL_IncTick() to increment
  * a global variable "uwTick" used as application time base.
  * @param  htim : TIM handle
  * @retval None
  */
void HAL_TIM_PeriodElapsedCallback(TIM_HandleTypeDef *htim)
{
  if (htim->Instance == TIM14) {
    HAL_IncTick();
  }
}

void Error_Handler(void)
{
  __disable_irq();
  while (1)
  {
  }
}

/************************ (C) COPYRIGHT STMicroelectronics *****END OF FILE****/
